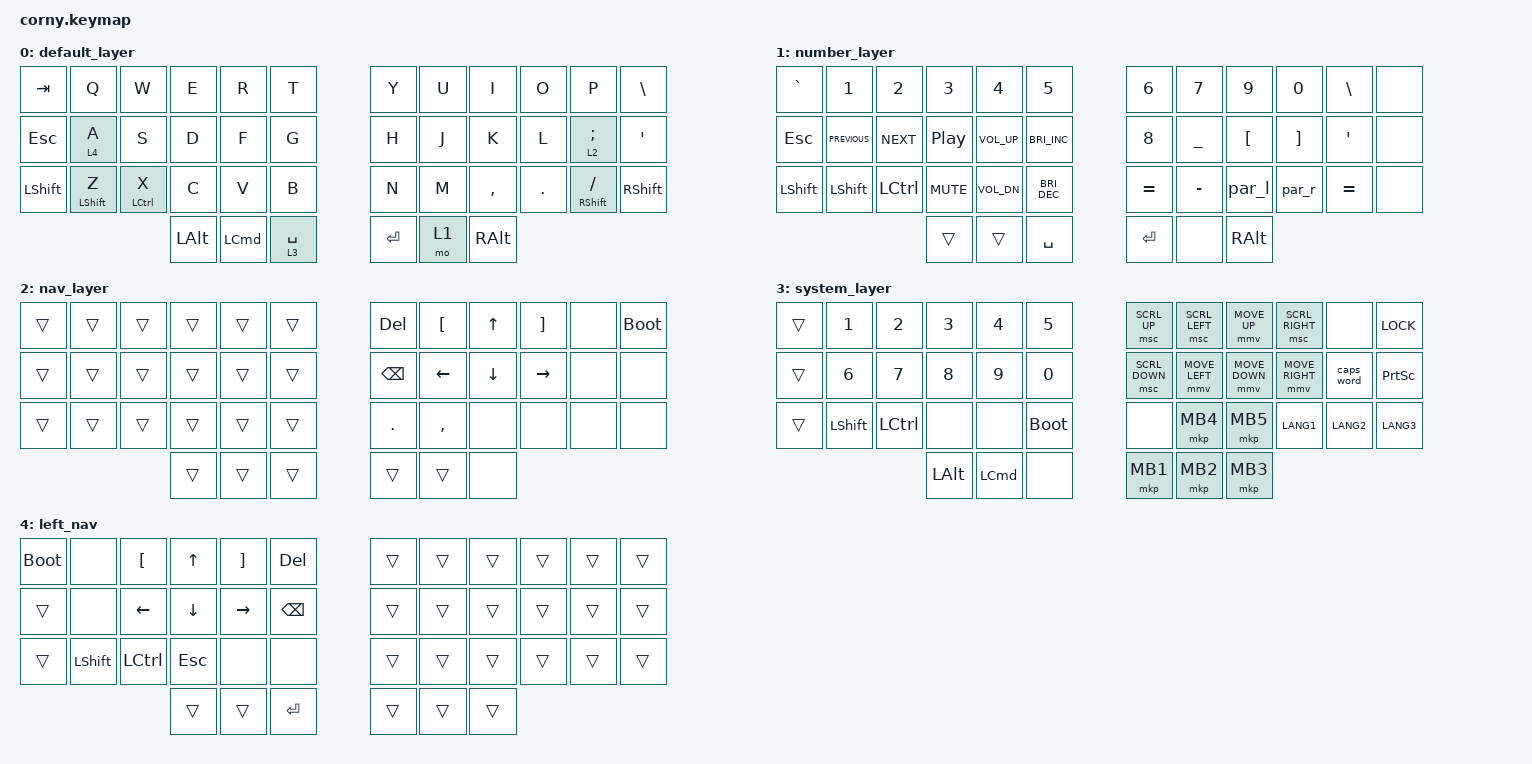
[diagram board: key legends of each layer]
// Copyright (c) 2022 The ZMK Contributors
// SPDX-License-Identifier: MIT

#define ZMK_POINTING_DEFAULT_MOVE_VAL 1500  // default: 600
#define ZMK_POINTING_DEFAULT_SCRL_VAL 40    // default: 10

#include <behaviors.dtsi>
#include <dt-bindings/zmk/keys.h>
#include <dt-bindings/zmk/pointing.h>

/ {
    combos { compatible = "zmk,combos"; };

    behaviors {
        par_l: par_l {
            compatible = "zmk,behavior-mod-morph";
            label = "PAR_L";
            bindings = <&kp LPAR>, <&kp LT>;

            #binding-cells = <0>;
            mods = <(MOD_LSFT|MOD_RSFT)>;
        };

        par_r: par_r {
            compatible = "zmk,behavior-mod-morph";
            label = "PAR_R";
            bindings = <&kp RPAR>, <&kp GT>;

            #binding-cells = <0>;
            mods = <(MOD_RSFT|MOD_LSFT)>;
        };
    };

    keymap {
        compatible = "zmk,keymap";

        default_layer {
            bindings = <
&kp TAB    &kp Q        &kp W        &kp E     &kp R     &kp T          &kp Y      &kp U  &kp I      &kp O    &kp P            &kp BACKSLASH
&kp ESC    &lt 4 A      &kp S        &kp D     &kp F     &kp G          &kp H      &kp J  &kp K      &kp L    &lt 2 SEMICOLON  &kp SQT
&kp LSHFT  &mt LSHFT Z  &mt LCTRL X  &kp C     &kp V     &kp B          &kp N      &kp M  &kp COMMA  &kp DOT  &mt RSHFT FSLH   &kp RSHFT
                                     &kp LALT  &kp LCMD  &lt 3 SPACE    &kp ENTER  &mo 1  &kp RALT
            >;
        };

        number_layer {
            bindings = <
&kp GRAVE   &kp N1          &kp N2      &kp N3            &kp N4        &kp N5           &kp N6     &kp N7     &kp N9    &kp N0    &kp BSLH   &none
&kp ESC     &kp C_PREVIOUS  &kp C_NEXT  &kp C_PLAY_PAUSE  &kp C_VOL_UP  &kp C_BRI_INC    &kp N8     &kp UNDER  &kp LBKT  &kp RBKT  &kp SQT    &none
&kp LSHIFT  &kp LSHFT       &kp LCTRL   &kp C_MUTE        &kp C_VOL_DN  &kp C_BRI_DEC    &kp EQUAL  &kp MINUS  &par_l    &par_r    &kp EQUAL  &none
                                        &trans            &trans        &kp SPACE        &kp ENTER  &none      &kp RALT
            >;
        };

        //        nav_layer {
        //            bindings = <
        //&trans  &kp TAB    &msc SCRL_LEFT  &mmv MOVE_UP    &msc SCRL_RIGHT  &msc SCRL_UP      &kp DEL        &kp LBKT  &kp UP    &kp RBKT   &none  &bootloader
        //&trans  &kp ESC    &mmv MOVE_LEFT  &mmv MOVE_DOWN  &mmv MOVE_RIGHT  &msc SCRL_DOWN    &kp BACKSPACE  &kp LEFT  &kp DOWN  &kp RIGHT  &none  &none
        //&trans  &kp LSHFT  &mkp MB4        &mkp MB3        &mkp MB1         &mkp MB2          &none          &none     &none     &none      &none  &none
        //                                   &kp LALT        &kp LCMD         &kp SPACE         &kp ENTER      &kp ESC   &none
        //            >;
        //        };
        // left hand needs to be transparent as when you type fast the nav might not be deactivated fast en.ough

        nav_layer {
            bindings = <
&trans  &trans  &trans  &trans  &trans  &trans    &kp DEL        &kp LBKT   &kp UP    &kp RBKT   &none  &bootloader
&trans  &trans  &trans  &trans  &trans  &trans    &kp BACKSPACE  &kp LEFT   &kp DOWN  &kp RIGHT  &none  &none
&trans  &trans  &trans  &trans  &trans  &trans    &kp DOT        &kp COMMA  &none     &none      &none  &none
                        &trans  &trans  &trans    &trans         &trans     &none
            >;
        };

        //        system_layer {
        //            bindings = <
        //&bootloader  &bt BT_CLR  &bt BT_NXT  &kp C_BRI_UP    &kp C_VOL_UP  &kp C_NEXT    &kp STAR   &kp N7   &kp N8   &kp N9  &none      &kp K_LOCK
        //&trans       &kp ESCAPE  &bt BT_PRV  &kp C_BRI_DN    &kp C_VOL_DN  &kp C_PREV    &kp MINUS  &kp N4   &kp N5   &kp N6  &none      &kp LANG1
        //&trans       &kp LSHFT   &kp LCTRL   &kp C_BRI_AUTO  &kp C_MUTE    &kp C_PP      &kp PLUS   &kp N1   &kp N2   &kp N3  &kp SLASH  &kp LANG2
        //                                     &kp LALT        &kp LCMD      &none         &kp ENTER  &kp DOT  &kp NO
        //            >;
        //        };

        system_layer {
            bindings = <
&trans  &kp N1     &kp N2     &kp N3    &kp N4    &kp N5         &msc SCRL_UP    &msc SCRL_LEFT  &mmv MOVE_UP    &msc SCRL_RIGHT  &none       &kp K_LOCK
&trans  &kp N6     &kp N7     &kp N8    &kp N9    &kp N0         &msc SCRL_DOWN  &mmv MOVE_LEFT  &mmv MOVE_DOWN  &mmv MOVE_RIGHT  &caps_word  &kp PSCRN
&trans  &kp LSHFT  &kp LCTRL  &none     &none     &bootloader    &none           &mkp MB4        &mkp MB5        &kp LANG1        &kp LANG2   &kp LANG3
                              &kp LALT  &kp LCMD  &none          &mkp MB1        &mkp MB2        &mkp MB3
            >;
        };

        left_nav {
            bindings = <
&bootloader  &none      &kp LBKT   &kp UP    &kp RBKT   &kp DEL          &trans  &trans  &trans  &trans  &trans  &trans
&trans       &none      &kp LEFT   &kp DOWN  &kp RIGHT  &kp BACKSPACE    &trans  &trans  &trans  &trans  &trans  &trans
&trans       &kp LSHFT  &kp LCTRL  &kp ESC   &none      &none            &trans  &trans  &trans  &trans  &trans  &trans
                                   &trans    &trans     &kp ENTER        &trans  &trans  &trans
            >;
        };
    };
};
